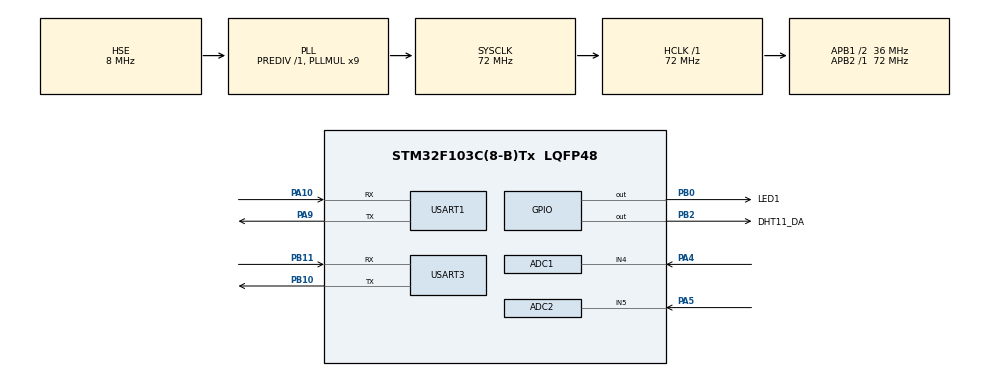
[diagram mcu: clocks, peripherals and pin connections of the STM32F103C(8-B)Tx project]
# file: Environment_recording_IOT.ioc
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ADC1.Channel-0\#ChannelRegularConversion=ADC_CHANNEL_4
ADC1.NbrOfConversionFlag=1
ADC1.Rank-0\#ChannelRegularConversion=1
ADC1.SamplingTime-0\#ChannelRegularConversion=ADC_SAMPLETIME_1CYCLE_5
ADC1.master=1
ADC2.Channel-0\#ChannelRegularConversion=ADC_CHANNEL_5
ADC2.NbrOfConversionFlag=1
ADC2.Rank-0\#ChannelRegularConversion=1
ADC2.SamplingTime-0\#ChannelRegularConversion=ADC_SAMPLETIME_1CYCLE_5
FREERTOS.Queues01=DHT11,2,uint8_t,0,Dynamic,NULL,NULL;ADC,1,uint16_t,0,Dynamic,NULL,NULL
FREERTOS.Tasks01=defaultTask,0,128,StartDefaultTask,Default,NULL,Dynamic,NULL,NULL;light,0,128,StartTask02,Default,NULL,Dynamic,NULL,NULL;dht11,0,128,StartTask03,Default,NULL,Dynamic,NULL,NULL;wifi,0,128,StartTask04,Default,NULL,Dynamic,NULL,NULL
FREERTOS.configUSE_NEWLIB_REENTRANT=1
Mcu.Family=STM32F1
Mcu.Name=STM32F103C(8-B)Tx
Mcu.Package=LQFP48
NVIC.PriorityGroup=NVIC_PRIORITYGROUP_4
NVIC.TIM1_UP_IRQn=true\:15\:0\:false\:false\:true\:false\:false\:true
NVIC.TIM2_IRQn=true\:5\:0\:false\:false\:true\:true\:true\:true
NVIC.TimeBase=TIM1_UP_IRQn
NVIC.TimeBaseIP=TIM1
NVIC.USART1_IRQn=true\:5\:0\:false\:false\:true\:true\:true\:true
NVIC.USART3_IRQn=true\:5\:0\:false\:false\:true\:true\:true\:true
PA10.Mode=Asynchronous
PA10.Signal=USART1_RX
PA13.Mode=Serial_Wire
PA13.Signal=SYS_JTMS-SWDIO
PA14.Mode=Serial_Wire
PA14.Signal=SYS_JTCK-SWCLK
PA4.Signal=ADCx_IN4
PA5.Signal=ADCx_IN5
PA9.Mode=Asynchronous
PA9.Signal=USART1_TX
PB0.GPIO_Label=LED1
PB0.GPIO_Speed=GPIO_SPEED_FREQ_HIGH
PB0.PinState=GPIO_PIN_SET
PB0.Signal=GPIO_Output
PB10.Mode=Asynchronous
PB10.Signal=USART3_TX
PB11.Mode=Asynchronous
PB11.Signal=USART3_RX
PB2.GPIO_Label=DHT11_DA
PB2.GPIO_ModeDefaultOutputPP=GPIO_MODE_OUTPUT_PP
PB2.GPIO_Speed=GPIO_SPEED_FREQ_HIGH
PB2.PinState=GPIO_PIN_SET
PB2.Signal=GPIO_Output
PC14-OSC32_IN.Mode=LSE-External-Oscillator
PC14-OSC32_IN.Signal=RCC_OSC32_IN
PC15-OSC32_OUT.Mode=LSE-External-Oscillator
PC15-OSC32_OUT.Signal=RCC_OSC32_OUT
PD0-OSC_IN.Mode=HSE-External-Oscillator
PD0-OSC_IN.Signal=RCC_OSC_IN
PD1-OSC_OUT.Mode=HSE-External-Oscillator
PD1-OSC_OUT.Signal=RCC_OSC_OUT
ProjectManager.HeapSize=0x200
ProjectManager.StackSize=0x400
ProjectManager.TargetToolchain=STM32CubeIDE
RCC.ADCPresc=RCC_ADCPCLK2_DIV8
RCC.AHBFreq_Value=72000000
RCC.APB1CLKDivider=RCC_HCLK_DIV2
RCC.APB1Freq_Value=36000000
RCC.APB1TimFreq_Value=72000000
RCC.APB2Freq_Value=72000000
RCC.APB2TimFreq_Value=72000000
RCC.HCLKFreq_Value=72000000
RCC.PLLMUL=RCC_PLL_MUL9
RCC.PLLSourceVirtual=RCC_PLLSOURCE_HSE
RCC.RTCClockSelection=RCC_RTCCLKSOURCE_LSE
RCC.SYSCLKFreq_VALUE=72000000
RCC.SYSCLKSource=RCC_SYSCLKSOURCE_PLLCLK
RCC.USBFreq_Value=72000000
SH.ADCx_IN4.0=ADC1_IN4,IN4
SH.ADCx_IN5.0=ADC2_IN5,IN5
TIM2.Period=999
TIM2.Prescaler=7199
USART1.VirtualMode=VM_ASYNC
USART3.VirtualMode=VM_ASYNC
VP_FREERTOS_VS_CMSIS_V1.Mode=CMSIS_V1
VP_SYS_VS_tim1.Mode=TIM1
VP_TIM2_VS_ClockSourceINT.Mode=Internal
board=custom

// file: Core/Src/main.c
/* USER CODE BEGIN Header */
/**
  ******************************************************************************
  * @file           : main.c
  * @brief          : Main program body
  ******************************************************************************
  * @attention
  *
  * Copyright (c) 2024 STMicroelectronics.
  * All rights reserved.
  *
  * This software is licensed under terms that can be found in the LICENSE file
  * in the root directory of this software component.
  * If no LICENSE file comes with this software, it is provided AS-IS.
  *
  ******************************************************************************
  */
/* USER CODE END Header */
#include "main.h"
#include "cmsis_os.h"

/* USER CODE BEGIN Includes */
#include "../../icode/dht11/dht11.h"
#include "../../icode/adc/adc.h"
#include "../../icode/usart/usart.h"
#include "../../icode/aliyun/esp8266/esp8266.h"
#include "../../icode/aliyun/mqtt/MQTTPacket.h"
#include "../../icode/aliyun/mqtt/transport.h"
#include "../../icode/aliyun/iot/iot.h"
/* USER CODE END Includes */

/* USER CODE BEGIN PD */
#define ADC_EVENT (0x01 << 0)   //定义事件组Bit位
#define DHT11_EVENT (0x01 << 1)
/* USER CODE END PD */

ADC_HandleTypeDef hadc1;
ADC_HandleTypeDef hadc2;

TIM_HandleTypeDef htim2;

UART_HandleTypeDef huart1;
UART_HandleTypeDef huart3;

osThreadId defaultTaskHandle;
osThreadId lightHandle;
osThreadId dht11Handle;
osThreadId wifiHandle;
osMessageQId DHT11Handle;
osMessageQId ADCHandle;
/* USER CODE BEGIN PV */
EventGroupHandle_t Event_Handle;
/* USER CODE END PV */

void SystemClock_Config(void);
static void MX_GPIO_Init(void);
static void MX_USART1_UART_Init(void);
static void MX_ADC1_Init(void);
static void MX_ADC2_Init(void);
static void MX_USART3_UART_Init(void);
static void MX_TIM2_Init(void);
void StartDefaultTask(void const * argument);
void StartTask02(void const * argument);
void StartTask03(void const * argument);
void StartTask04(void const * argument);

int main(void)
{

  /* MCU Configuration--------------------------------------------------------*/

  /* Reset of all peripherals, Initializes the Flash interface and the Systick. */
  HAL_Init();

  /* Configure the system clock */
  SystemClock_Config();

  /* Initialize all configured peripherals */
  MX_GPIO_Init();
  MX_USART1_UART_Init();
  MX_ADC1_Init();
  MX_ADC2_Init();
  MX_USART3_UART_Init();
  MX_TIM2_Init();
  /* USER CODE BEGIN 2 */
  HAL_UART_Receive_IT(&huart1, (uint8_t *)&USART_NewData, 1);//开接收中断
  HAL_UART_Receive_IT(&huart3, (uint8_t *)&USART_NewData, 1);
  HAL_TIM_Base_Start_IT(&htim2);//定时器
  while(esp8266_Connect_IOTServer());//连接WiFi
  while(IOT_connect());//连接阿里云
  IOT_ping();
  Event_Handle = xEventGroupCreate();
  /* USER CODE END 2 */

  /* Create the queue(s) */
  /* definition and creation of DHT11 */
  osMessageQDef(DHT11, 2, uint8_t);
  DHT11Handle = osMessageCreate(osMessageQ(DHT11), NULL);

  /* definition and creation of ADC */
  osMessageQDef(ADC, 1, uint16_t);
  ADCHandle = osMessageCreate(osMessageQ(ADC), NULL);

  /* Create the thread(s) */
  /* definition and creation of defaultTask */
  osThreadDef(defaultTask, StartDefaultTask, osPriorityNormal, 0, 128);
  defaultTaskHandle = osThreadCreate(osThread(defaultTask), NULL);

  /* definition and creation of light */
  osThreadDef(light, StartTask02, osPriorityNormal, 0, 128);
  lightHandle = osThreadCreate(osThread(light), NULL);

  /* definition and creation of dht11 */
  osThreadDef(dht11, StartTask03, osPriorityNormal, 0, 128);
  dht11Handle = osThreadCreate(osThread(dht11), NULL);

  /* definition and creation of wifi */
  osThreadDef(wifi, StartTask04, osPriorityNormal, 0, 128);
  wifiHandle = osThreadCreate(osThread(wifi), NULL);

  /* Start scheduler */
  osKernelStart();

  /* We should never get here as control is now taken by the scheduler */
  /* Infinite loop */
  while (1)
  {

  }
}

void SystemClock_Config(void)
{
  RCC_OscInitTypeDef RCC_OscInitStruct = {0};
  RCC_ClkInitTypeDef RCC_ClkInitStruct = {0};
  RCC_PeriphCLKInitTypeDef PeriphClkInit = {0};

  /** Initializes the RCC Oscillators according to the specified parameters
  * in the RCC_OscInitTypeDef structure.
  */
  RCC_OscInitStruct.OscillatorType = RCC_OSCILLATORTYPE_HSE;
  RCC_OscInitStruct.HSEState = RCC_HSE_ON;
  RCC_OscInitStruct.HSEPredivValue = RCC_HSE_PREDIV_DIV1;
  RCC_OscInitStruct.HSIState = RCC_HSI_ON;
  RCC_OscInitStruct.PLL.PLLState = RCC_PLL_ON;
  RCC_OscInitStruct.PLL.PLLSource = RCC_PLLSOURCE_HSE;
  RCC_OscInitStruct.PLL.PLLMUL = RCC_PLL_MUL9;
  if (HAL_RCC_OscConfig(&RCC_OscInitStruct) != HAL_OK)
  {
    Error_Handler();
  }
  /** Initializes the CPU, AHB and APB buses clocks
  */
  RCC_ClkInitStruct.ClockType = RCC_CLOCKTYPE_HCLK|RCC_CLOCKTYPE_SYSCLK
                              |RCC_CLOCKTYPE_PCLK1|RCC_CLOCKTYPE_PCLK2;
  RCC_ClkInitStruct.SYSCLKSource = RCC_SYSCLKSOURCE_PLLCLK;
  RCC_ClkInitStruct.AHBCLKDivider = RCC_SYSCLK_DIV1;
  RCC_ClkInitStruct.APB1CLKDivider = RCC_HCLK_DIV2;
  RCC_ClkInitStruct.APB2CLKDivider = RCC_HCLK_DIV1;

  if (HAL_RCC_ClockConfig(&RCC_ClkInitStruct, FLASH_LATENCY_2) != HAL_OK)
  {
    Error_Handler();
  }
  PeriphClkInit.PeriphClockSelection = RCC_PERIPHCLK_ADC;
  PeriphClkInit.AdcClockSelection = RCC_ADCPCLK2_DIV8;
  if (HAL_RCCEx_PeriphCLKConfig(&PeriphClkInit) != HAL_OK)
  {
    Error_Handler();
  }
}

static void MX_ADC1_Init(void)
{

  ADC_ChannelConfTypeDef sConfig = {0};

  /** Common config
  */
  hadc1.Instance = ADC1;
  hadc1.Init.ScanConvMode = ADC_SCAN_DISABLE;
  hadc1.Init.ContinuousConvMode = DISABLE;
  hadc1.Init.DiscontinuousConvMode = DISABLE;
  hadc1.Init.ExternalTrigConv = ADC_SOFTWARE_START;
  hadc1.Init.DataAlign = ADC_DATAALIGN_RIGHT;
  hadc1.Init.NbrOfConversion = 1;
  if (HAL_ADC_Init(&hadc1) != HAL_OK)
  {
    Error_Handler();
  }
  /** Configure Regular Channel
  */
  sConfig.Channel = ADC_CHANNEL_4;
  sConfig.Rank = ADC_REGULAR_RANK_1;
  sConfig.SamplingTime = ADC_SAMPLETIME_1CYCLE_5;
  if (HAL_ADC_ConfigChannel(&hadc1, &sConfig) != HAL_OK)
  {
    Error_Handler();
  }

}

static void MX_ADC2_Init(void)
{

  ADC_ChannelConfTypeDef sConfig = {0};

  /** Common config
  */
  hadc2.Instance = ADC2;
  hadc2.Init.ScanConvMode = ADC_SCAN_DISABLE;
  hadc2.Init.ContinuousConvMode = DISABLE;
  hadc2.Init.DiscontinuousConvMode = DISABLE;
  hadc2.Init.ExternalTrigConv = ADC_SOFTWARE_START;
  hadc2.Init.DataAlign = ADC_DATAALIGN_RIGHT;
  hadc2.Init.NbrOfConversion = 1;
  if (HAL_ADC_Init(&hadc2) != HAL_OK)
  {
    Error_Handler();
  }
  /** Configure Regular Channel
  */
  sConfig.Channel = ADC_CHANNEL_5;
  sConfig.Rank = ADC_REGULAR_RANK_1;
  sConfig.SamplingTime = ADC_SAMPLETIME_1CYCLE_5;
  if (HAL_ADC_ConfigChannel(&hadc2, &sConfig) != HAL_OK)
  {
    Error_Handler();
  }

}

static void MX_TIM2_Init(void)
{

  TIM_ClockConfigTypeDef sClockSourceConfig = {0};
  TIM_MasterConfigTypeDef sMasterConfig = {0};

  htim2.Instance = TIM2;
  htim2.Init.Prescaler = 7199;
  htim2.Init.CounterMode = TIM_COUNTERMODE_UP;
  htim2.Init.Period = 999;
  htim2.Init.ClockDivision = TIM_CLOCKDIVISION_DIV1;
  htim2.Init.AutoReloadPreload = TIM_AUTORELOAD_PRELOAD_DISABLE;
  if (HAL_TIM_Base_Init(&htim2) != HAL_OK)
  {
    Error_Handler();
  }
  sClockSourceConfig.ClockSource = TIM_CLOCKSOURCE_INTERNAL;
  if (HAL_TIM_ConfigClockSource(&htim2, &sClockSourceConfig) != HAL_OK)
  {
    Error_Handler();
  }
  sMasterConfig.MasterOutputTrigger = TIM_TRGO_RESET;
  sMasterConfig.MasterSlaveMode = TIM_MASTERSLAVEMODE_DISABLE;
  if (HAL_TIMEx_MasterConfigSynchronization(&htim2, &sMasterConfig) != HAL_OK)
  {
    Error_Handler();
  }

}

static void MX_USART1_UART_Init(void)
{

  huart1.Instance = USART1;
  huart1.Init.BaudRate = 115200;
  huart1.Init.WordLength = UART_WORDLENGTH_8B;
  huart1.Init.StopBits = UART_STOPBITS_1;
  huart1.Init.Parity = UART_PARITY_NONE;
  huart1.Init.Mode = UART_MODE_TX_RX;
  huart1.Init.HwFlowCtl = UART_HWCONTROL_NONE;
  huart1.Init.OverSampling = UART_OVERSAMPLING_16;
  if (HAL_UART_Init(&huart1) != HAL_OK)
  {
    Error_Handler();
  }

}

static void MX_USART3_UART_Init(void)
{

  huart3.Instance = USART3;
  huart3.Init.BaudRate = 115200;
  huart3.Init.WordLength = UART_WORDLENGTH_8B;
  huart3.Init.StopBits = UART_STOPBITS_1;
  huart3.Init.Parity = UART_PARITY_NONE;
  huart3.Init.Mode = UART_MODE_TX_RX;
  huart3.Init.HwFlowCtl = UART_HWCONTROL_NONE;
  huart3.Init.OverSampling = UART_OVERSAMPLING_16;
  if (HAL_UART_Init(&huart3) != HAL_OK)
  {
    Error_Handler();
  }

}

static void MX_GPIO_Init(void)
{
  GPIO_InitTypeDef GPIO_InitStruct = {0};

  /* GPIO Ports Clock Enable */
  __HAL_RCC_GPIOC_CLK_ENABLE();
  __HAL_RCC_GPIOD_CLK_ENABLE();
  __HAL_RCC_GPIOA_CLK_ENABLE();
  __HAL_RCC_GPIOB_CLK_ENABLE();

  /*Configure GPIO pin Output Level */
  HAL_GPIO_WritePin(GPIOB, LED1_Pin|DHT11_DA_Pin, GPIO_PIN_SET);

  /*Configure GPIO pins : LED1_Pin DHT11_DA_Pin */
  GPIO_InitStruct.Pin = LED1_Pin|DHT11_DA_Pin;
  GPIO_InitStruct.Mode = GPIO_MODE_OUTPUT_PP;
  GPIO_InitStruct.Pull = GPIO_NOPULL;
  GPIO_InitStruct.Speed = GPIO_SPEED_FREQ_HIGH;
  HAL_GPIO_Init(GPIOB, &GPIO_InitStruct);

}

void StartDefaultTask(void const * argument)
{
  /* USER CODE BEGIN 5 */
  /* Infinite loop */
	//默认任务程序，闪烁LED1，用于观测任务进程是否运行
  for(;;)
  {
	  HAL_GPIO_WritePin(GPIOB, LED1_Pin, 1-HAL_GPIO_ReadPin(GPIOB,LED1_Pin));//改变GPIO输出电平
	  vTaskDelay(pdMS_TO_TICKS(3000));
  }
  /* USER CODE END 5 */
}

void StartTask02(void const * argument)
{
  /* USER CODE BEGIN StartTask02 */
	/**
	 * 1.读取光照强度数据，通过模数转换读取光敏电阻的值
	 * 2.将数据写入队列
	 * 3.将事件组标志位设为1
	 */
	uint16_t ADC = 0;
  /* Infinite loop */
  for(;;)
  {
      ADC = ADC_IN_2();//调用接口读取光敏电阻
	  if(xQueueSendToBack(ADCHandle,&ADC,0)==errQUEUE_FULL) {//写队列，如果队列是满的，清空队列
	  	  xQueueReset(ADCHandle);
		  continue;
	  }
	  xEventGroupSetBits(Event_Handle, ADC_EVENT);//设置事件光敏电阻位为1
	  vTaskDelay(pdMS_TO_TICKS(5000));//休眠5s
  }
  /* USER CODE END StartTask02 */
}

void StartTask03(void const * argument)
{
  /* USER CODE BEGIN StartTask03 */
	/**
	 * 1.读取温度传感器数据
	 * 2.将数据写入队列
	 * 3.将事件组标志位设为1
	 */
	uint8_t DHT11_BUF[2] = {0};
  /* Infinite loop */
    for(;;)
    {
    	DHT11_ReadData(DHT11_BUF);//
    	if(xQueueSendToBack(DHT11Handle,&DHT11_BUF[0],0)==errQUEUE_FULL) {//写队列，如果队列是满的，清空队列
    		xQueueReset(DHT11Handle);
    		continue;
    	}
    	if(xQueueSendToBack(DHT11Handle,&DHT11_BUF[1],0)==errQUEUE_FULL) {//写队列，如果队列是满的，清空队列
    		xQueueReset(DHT11Handle);
    		continue;
    	}
    	xEventGroupSetBits(Event_Handle, DHT11_EVENT);//设置事件温湿度传感器位为1
	    vTaskDelay(pdMS_TO_TICKS(5000));
    }
  /* USER CODE END StartTask03 */
}

void StartTask04(void const * argument)
{
  /* USER CODE BEGIN StartTask04 */
	/**
	 * 1.等待光敏电阻事件和温湿度传感器事件
	 * 2.读取光和温湿度数据
	 * 3.如果时间够了，发送心跳包
	 * 4.向云平台发布消息（光照和温湿度数据）
	 */
  uint8_t DHT11_BUF[2] = {0};
  uint16_t ADC = 0;
  char buff[64];
  uint8_t len;
  uint16_t j = 0;
  /* Infinite loop */
  for(;;)
  {
	  xEventGroupWaitBits(Event_Handle, ADC_EVENT|DHT11_EVENT, pdTRUE, pdTRUE, portMAX_DELAY);//等待光敏电阻和温湿度传感器事件
	  xQueueReceive(DHT11Handle, &DHT11_BUF[0], 0);//（队列）读取湿度数据
	  xQueueReceive(DHT11Handle, &DHT11_BUF[1], 0);//（队列）读取温度数据
	  xQueueReceive(ADCHandle, &ADC, 0);//（队列）读取光敏电阻数据
	  if(j++>=6){
		  USART_RX_STA = 0;
		  IOT_ping();//发送心跳包，保持设备在线
		  while(MQTTPacket_read(buf, buflen, transport_getdata)!=PINGRESP){//回复是否成功
		  		  IOT_ping();
		  		  USART_RX_STA = 0;
		  	  }
		  j=0;
	  }
	  sprintf(buff, "light: %d humidity: %d temperature: %d\r\n", ADC, DHT11_BUF[0], DHT11_BUF[1]);
	  len = strlen(buff);
	  MQTTString topicString = MQTTString_initializer;
	  topicString.cstring = TOPIC_PUBLISH;
	  len = MQTTSerialize_publish(buf, buflen, 0, 0, 0, 0, topicString,buff, len);
	  HAL_UART_Transmit(&huart3, buf, len,1000);//串口3向无线模块发送数据，无线模块向阿里云物联网平台发送数据
	  vTaskDelay(pdMS_TO_TICKS(5000));
  }
  /* USER CODE END StartTask04 */
}

void HAL_TIM_PeriodElapsedCallback(TIM_HandleTypeDef *htim)
{
  if (htim->Instance == TIM1) {
    HAL_IncTick();
  }
  /* USER CODE BEGIN Callback 1 */
  if(htim ==&htim2){
		USART_RX_BUF[USART_RX_STA&0X7FFF]=0;
		USART_RX_STA|=0x8000;
		__HAL_TIM_CLEAR_FLAG(&htim2,TIM_EVENTSOURCE_UPDATE);
		__HAL_TIM_DISABLE(&htim2);
   }
  /* USER CODE END Callback 1 */
}

void Error_Handler(void)
{
  __disable_irq();
  while (1)
  {
  }
}
